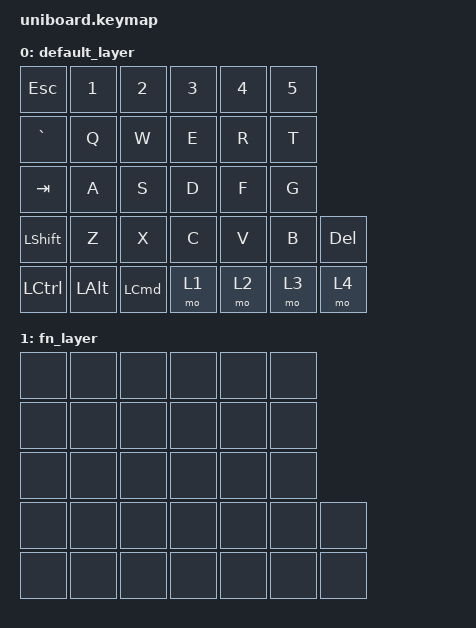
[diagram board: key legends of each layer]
#include <behaviors.dtsi>
#include <dt-bindings/zmk/keys.h>
#include <dt-bindings/zmk/bt.h>

/ {
    kepmap{
        compatible = "zmk,keymap";

        default_layer{
            bindings = <
                &kp ESC     &kp N1     &kp N2     &kp N3     &kp N4     &kp N5
                &kp GRAV     &kp Q     &kp W     &kp E     &kp R     &kp T
                &kp TAB     &kp A     &kp S     &kp D     &kp F     &kp G 
                &kp LSHIFT     &kp Z     &kp X     &kp C     &kp V     &kp B     &kp DEL 
                &kp LCTRL     &kp LALT     &kp LCMD     &mo 1     &mo 2     &mo 3     &mo 4        
            >;

        };

        fn_layer {
            bindings = <
                &none     &none     &none     &none     &none     &none     
                &none     &none     &none     &none     &none     &none     
                &none     &none     &none     &none     &none     &none     
                &none     &none     &none     &none     &none     &none     &none     
                &none     &none     &none     &none     &none     &none     &none     
            >;
        };


    };
};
